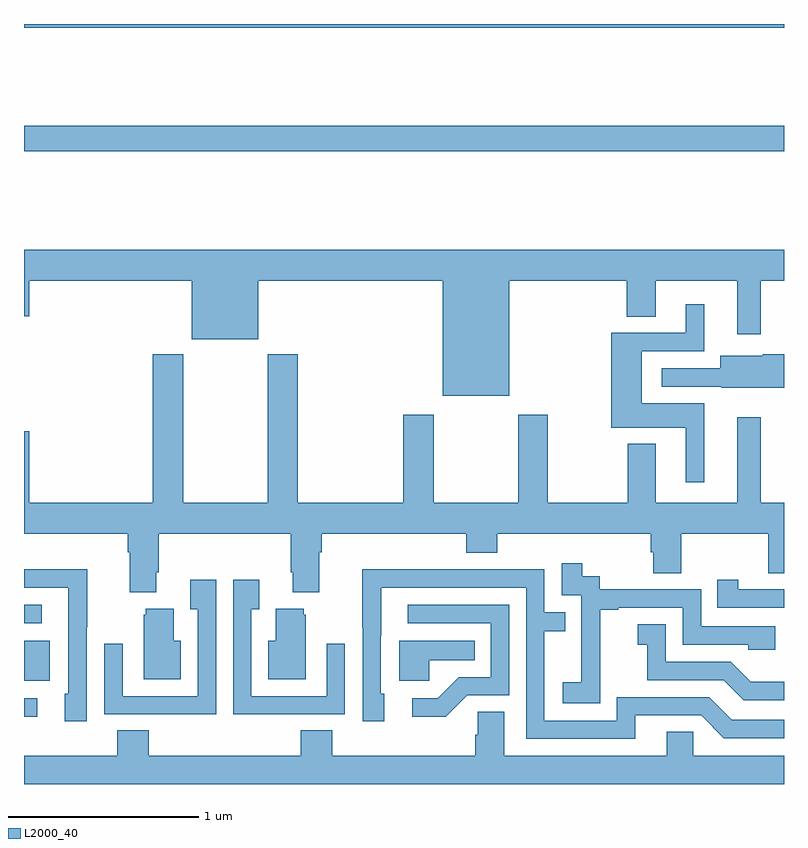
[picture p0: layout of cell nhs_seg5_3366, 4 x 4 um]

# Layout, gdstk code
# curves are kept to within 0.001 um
import gdstk
lib = gdstk.Library(unit=1e-6, precision=1e-09)
def R(c, l, rs):  # rectangles x0, y0, x1, y1
    for r in rs: c.add(gdstk.rectangle(r[:2], r[2:], *l))
def P(c, l, *ps):  # polygons
    for p in ps: c.add(gdstk.Polygon(p, *l))
L2000_40 = (2000, 40)

nhs_seg5_3366 = lib.new_cell('nhs_seg5_3366')
R(nhs_seg5_3366, L2000_40, [(309,833.153,309.07,833.25), (309,833.342,309.136,833.554), (309,833.646,309.094,833.742), (309,836.128,313,836.264), (309,836.78,313,836.799)])
P(nhs_seg5_3366, L2000_40, [(311.554,835.448),(312.173,835.448),(312.173,835.258),(312.325,835.258),(312.325,835.448),(312.755,835.448),(312.755,835.167),(312.877,835.167),(312.877,835.448),(313,835.448),(313,835.612),(309,835.612),(309,835.26),(309.028,835.26),(309.028,835.448),(309.884,835.448),(309.884,835.139),(310.234,835.139),(310.234,835.448),(311.204,835.448),(311.204,834.842),(311.554,834.842)],
  [(312.58,834.802),(312.25,834.802),(312.25,835.077),(312.58,835.077),(312.58,835.324),(312.482,835.324),(312.482,835.173),(312.092,835.173),(312.092,834.674),(312.482,834.674),(312.482,834.387),(312.58,834.387)],
  [(313,835.062),(312.888,835.062),(312.888,835.054),(312.665,835.054),(312.665,834.987),(312.357,834.987),(312.357,834.891),(312.669,834.891),(312.669,834.884),(313,834.884)],
  [(309.697,833.914),(309.71,833.914),(309.71,834.116),(310.403,834.116),(310.403,833.914),(310.415,833.914),(310.415,833.807),(310.555,833.807),(310.555,834.02),(310.568,834.02),(310.568,834.116),(311.327,834.116),(311.327,834.017),(311.492,834.017),(311.492,834.116),(312.299,834.116),(312.299,834.018),(312.311,834.018),(312.311,833.908),(312.459,833.908),(312.459,834.116),(312.916,834.116),(312.916,833.908),(313,833.908),(313,834.28),(312.877,834.28),(312.877,834.73),(312.755,834.73),(312.755,834.28),(312.325,834.28),(312.325,834.589),(312.178,834.589),(312.178,834.28),(311.757,834.28),(311.757,834.742),(311.602,834.742),(311.602,834.28),(311.157,834.28),(311.157,834.742),(310.997,834.742),(310.997,834.28),(310.442,834.28),(310.442,835.06),(310.282,835.06),(310.282,834.28),(309.837,834.28),(309.837,835.06),(309.677,835.06),(309.677,834.28),(309.028,834.28),(309.028,834.655),(309,834.655),(309,834.116),(309.545,834.116),(309.545,834.02),(309.557,834.02),(309.557,833.807),(309.697,833.807)],
  [(312.033,833.431),(312.032,833.431),(312.032,833.715),(312.127,833.715),(312.127,833.727),(312.468,833.727),(312.468,833.532),(312.813,833.532),(312.813,833.505),(312.953,833.505),(312.953,833.628),(312.564,833.628),(312.564,833.823),(312.03,833.823),(312.03,833.892),(311.938,833.892),(311.938,833.962),(311.829,833.962),(311.829,833.793),(311.934,833.793),(311.934,833.564),(311.933,833.564),(311.933,833.335),(311.835,833.335),(311.835,833.225),(312.033,833.225)],
  [(309.33,833.623),(309.333,833.623),(309.333,833.93),(309,833.93),(309,833.832),(309.233,833.832),(309.233,833.62),(309.234,833.62),(309.234,833.274),(309.215,833.274),(309.215,833.13),(309.33,833.13)],
  [(312.217,833.16),(312.564,833.16),(312.684,833.04),(313,833.04),(313,833.136),(312.726,833.136),(312.606,833.256),(312.12,833.256),(312.12,833.133),(311.739,833.133),(311.739,833.602),(311.849,833.602),(311.849,833.703),(311.739,833.703),(311.739,833.928),(311.243,833.928),(311.243,833.93),(310.78,833.93),(310.78,833.623),(310.782,833.623),(310.782,833.13),(310.897,833.13),(310.897,833.274),(310.878,833.274),(310.879,833.832),(311.643,833.832),(311.643,833.037),(312.217,833.037)],
  [(310.373,833.166),(310.689,833.166),(310.689,833.536),(310.593,833.536),(310.593,833.262),(310.197,833.262),(310.197,833.719),(310.237,833.719),(310.237,833.875),(310.101,833.875),(310.101,833.165),(310.373,833.165)],
  [(310.011,833.875),(309.875,833.875),(309.875,833.719),(309.915,833.719),(309.915,833.262),(309.519,833.262),(309.519,833.536),(309.423,833.536),(309.423,833.166),(309.739,833.166),(309.739,833.165),(310.011,833.165)],
  [(313,833.823),(312.76,833.823),(312.76,833.875),(312.649,833.875),(312.649,833.727),(313,833.727)],
  [(311.334,833.265),(311.553,833.265),(311.553,833.742),(311.019,833.742),(311.019,833.646),(311.457,833.646),(311.457,833.361),(311.288,833.361),(311.177,833.25),(311.043,833.25),(311.043,833.153),(311.221,833.153)],
  [(310.483,833.691),(310.472,833.691),(310.472,833.722),(310.325,833.722),(310.325,833.554),(310.286,833.554),(310.286,833.351),(310.483,833.351)],
  [(309.826,833.554),(309.787,833.554),(309.787,833.722),(309.641,833.722),(309.641,833.691),(309.629,833.691),(309.629,833.351),(309.826,833.351)],
  [(313,833.338),(312.824,833.338),(312.72,833.442),(312.378,833.442),(312.378,833.641),(312.231,833.641),(312.231,833.531),(312.28,833.531),(312.28,833.346),(312.683,833.346),(312.788,833.241),(313,833.241)],
  [(311.133,833.45),(311.372,833.45),(311.372,833.554),(310.976,833.554),(310.976,833.342),(311.133,833.342)],
  [(313,832.948),(312.522,832.948),(312.522,833.075),(312.383,833.075),(312.383,832.948),(311.527,832.948),(311.527,833.18),(311.388,833.18),(311.388,833.057),(311.375,833.057),(311.375,832.948),(310.622,832.948),(310.622,833.081),(310.457,833.081),(310.457,832.948),(309.656,832.948),(309.656,833.081),(309.491,833.081),(309.491,832.948),(309,832.948),(309,832.799),(313,832.799)])

lib.write_gds('nhs_seg5_3366.gds')
